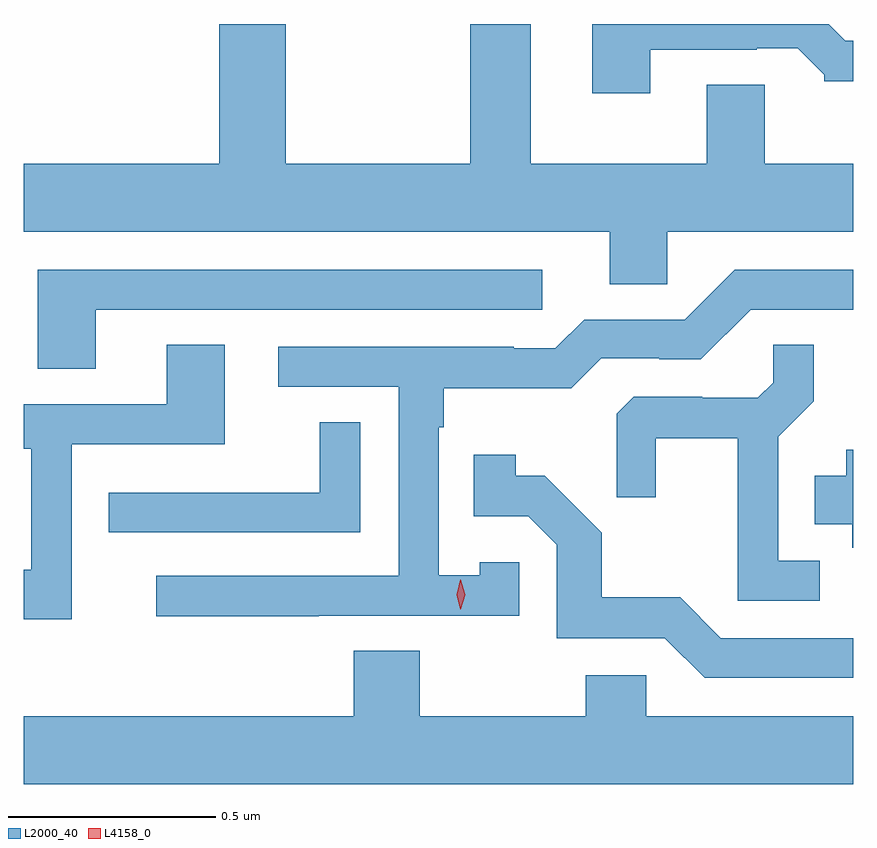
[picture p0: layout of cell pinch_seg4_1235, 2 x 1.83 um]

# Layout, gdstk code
import gdstk
lib = gdstk.Library(unit=1e-6, precision=1e-09)
def P(c, l, *ps):  # polygons
    for p in ps: c.add(gdstk.Polygon(p, *l))
L2000_40 = (2000, 40)
L4158_0 = (4158, 0)

pinch_seg4_1235 = lib.new_cell('pinch_seg4_1235')
P(pinch_seg4_1235, L2000_40, [(339.606,796.82),(340.054,796.82),(340.054,796.984),(339.841,796.984),(339.841,797.174),(339.701,797.174),(339.701,796.984),(339.277,796.984),(339.277,797.321),(339.13,797.321),(339.13,796.984),(338.685,796.984),(338.685,797.321),(338.525,797.321),(338.525,796.984),(338.054,796.984),(338.054,796.82),(339.467,796.82),(339.467,796.693),(339.606,796.693)],
  [(339.565,797.259),(339.821,797.259),(339.821,797.262),(339.92,797.262),(339.984,797.198),(339.984,797.183),(340.054,797.183),(340.054,797.28),(340.035,797.28),(339.995,797.321),(339.425,797.321),(339.425,797.154),(339.565,797.154)],
  [(338.227,796.632),(339.304,796.632),(339.304,796.728),(338.087,796.728),(338.087,796.489),(338.227,796.489)],
  [(338.765,795.894),(339.249,795.894),(339.249,796.023),(339.153,796.023),(339.153,795.991),(339.054,795.991),(339.054,796.349),(339.067,796.349),(339.067,796.442),(339.374,796.442),(339.447,796.515),(339.586,796.515),(339.586,796.512),(339.687,796.512),(339.807,796.632),(340.054,796.632),(340.054,796.728),(339.768,796.728),(339.648,796.608),(339.405,796.608),(339.336,796.539),(339.236,796.539),(339.236,796.542),(338.667,796.542),(338.667,796.446),(338.958,796.446),(338.958,795.99),(338.373,795.99),(338.373,795.892),(338.765,795.892)],
  [(338.169,796.308),(338.539,796.308),(338.539,796.547),(338.399,796.547),(338.399,796.404),(338.054,796.404),(338.054,796.296),(338.072,796.296),(338.072,796.005),(338.054,796.005),(338.054,795.885),(338.169,795.885)],
  [(339.973,796.026),(339.873,796.026),(339.873,796.325),(339.959,796.411),(339.959,796.547),(339.861,796.547),(339.861,796.456),(339.824,796.419),(339.69,796.419),(339.69,796.422),(339.525,796.422),(339.484,796.381),(339.484,796.179),(339.578,796.179),(339.578,796.322),(339.776,796.322),(339.776,795.93),(339.973,795.93)],
  [(338.865,796.361),(338.767,796.361),(338.767,796.191),(338.371,796.191),(338.371,796.19),(338.259,796.19),(338.259,796.095),(338.865,796.095)],
  [(340.054,796.294),(340.037,796.294),(340.037,796.231),(339.962,796.231),(339.962,796.115),(340.052,796.115),(340.052,796.058),(340.054,796.058)],
  [(340.054,795.84),(339.735,795.84),(339.637,795.939),(339.448,795.939),(339.448,796.094),(339.31,796.232),(339.24,796.232),(339.24,796.282),(339.139,796.282),(339.139,796.134),(339.27,796.134),(339.339,796.065),(339.339,795.84),(339.6,795.84),(339.696,795.744),(340.054,795.744)],
  [(340.054,795.652),(339.555,795.652),(339.555,795.75),(339.409,795.75),(339.409,795.652),(339.009,795.652),(339.009,795.809),(338.849,795.809),(338.849,795.652),(338.054,795.652),(338.054,795.488),(340.054,795.488)])
P(pinch_seg4_1235, L4158_0, [(339.108,795.909),(339.107,795.91),(339.098,795.945),(339.107,795.981),(339.108,795.981),(339.108,795.981),(339.118,795.945),(339.108,795.91)])

lib.write_gds('pinch_seg4_1235.gds')
